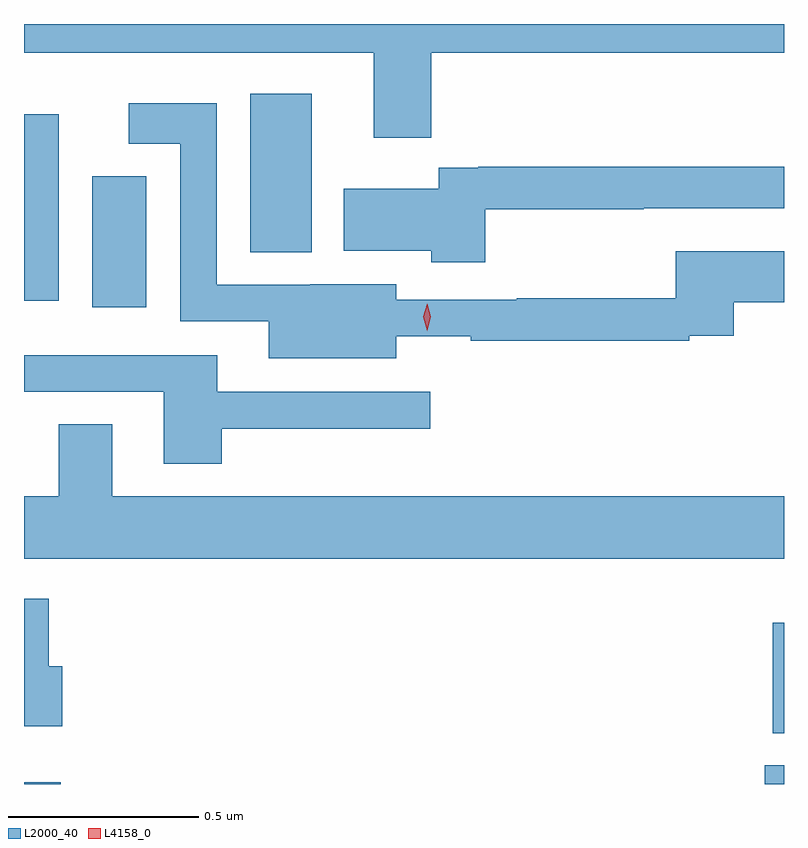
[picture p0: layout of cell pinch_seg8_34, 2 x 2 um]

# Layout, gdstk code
import gdstk
lib = gdstk.Library(unit=1e-6, precision=1e-09)
def R(c, l, rs):  # rectangles x0, y0, x1, y1
    for r in rs: c.add(gdstk.rectangle(r[:2], r[2:], *l))
def P(c, l, *ps):  # polygons
    for p in ps: c.add(gdstk.Polygon(p, *l))
L2000_40 = (2000, 40)
L4158_0 = (4158, 0)

pinch_seg8_34 = lib.new_cell('pinch_seg8_34')
R(pinch_seg8_34, L2000_40, [(976.803,1150.539,976.9,1150.543), (978.752,1150.539,978.803,1150.588), (978.773,1150.673,978.803,1150.963), (976.982,1151.793,977.125,1152.139), (976.803,1151.811,976.894,1152.301), (977.399,1151.939,977.56,1152.355)])
P(pinch_seg8_34, L2000_40, [(977.875,1152.464),(978.803,1152.464),(978.803,1152.539),(976.803,1152.539),(976.803,1152.464),(977.723,1152.464),(977.723,1152.24),(977.875,1152.24)],
  [(977.782,1151.717),(977.978,1151.717),(977.978,1151.706),(978.554,1151.706),(978.554,1151.718),(978.671,1151.718),(978.671,1151.807),(978.803,1151.807),(978.803,1151.941),(978.518,1151.941),(978.518,1151.817),(978.1,1151.817),(978.1,1151.814),(977.782,1151.814),(977.782,1151.854),(977.556,1151.854),(977.556,1151.853),(977.31,1151.853),(977.31,1152.331),(977.079,1152.331),(977.079,1152.224),(977.214,1152.224),(977.214,1151.757),(977.447,1151.757),(977.447,1151.66),(977.782,1151.66)],
  [(978.017,1152.052),(978.434,1152.052),(978.434,1152.054),(978.803,1152.054),(978.803,1152.163),(977.998,1152.163),(977.998,1152.161),(977.895,1152.161),(977.895,1152.106),(977.645,1152.106),(977.645,1151.942),(977.875,1151.942),(977.875,1151.912),(978.017,1151.912)],
  [(977.324,1151.474),(977.872,1151.474),(977.872,1151.571),(977.311,1151.571),(977.311,1151.667),(976.803,1151.667),(976.803,1151.571),(977.171,1151.571),(977.171,1151.382),(977.324,1151.382)],
  [(978.803,1151.296),(977.035,1151.296),(977.035,1151.486),(976.895,1151.486),(976.895,1151.296),(976.803,1151.296),(976.803,1151.132),(978.803,1151.132)],
  [(976.903,1150.849),(976.868,1150.849),(976.868,1151.026),(976.803,1151.026),(976.803,1150.691),(976.903,1150.691)])
P(pinch_seg8_34, L4158_0, [(977.864,1151.732),(977.864,1151.732),(977.854,1151.768),(977.864,1151.803),(977.864,1151.803),(977.864,1151.803),(977.874,1151.768),(977.864,1151.732)])

lib.write_gds('pinch_seg8_34.gds')
